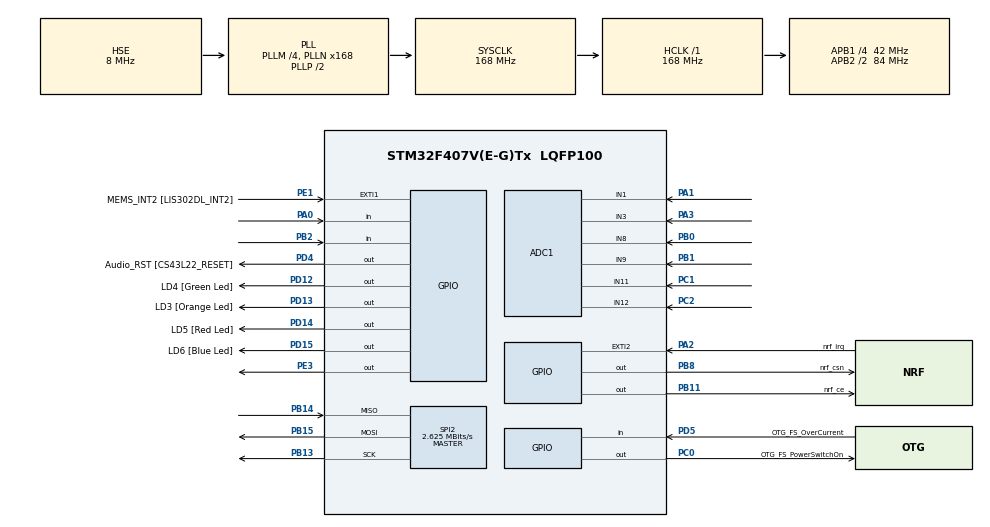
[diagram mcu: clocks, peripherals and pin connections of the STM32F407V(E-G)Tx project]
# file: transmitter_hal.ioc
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ADC1.Channel-0\#ChannelRegularConversion=ADC_CHANNEL_1
ADC1.ContinuousConvMode=DISABLE
ADC1.NbrOfConversion=1
ADC1.NbrOfConversionFlag=1
ADC1.Rank-0\#ChannelRegularConversion=1
ADC1.SamplingTime-0\#ChannelRegularConversion=ADC_SAMPLETIME_28CYCLES
ADC1.ScanConvMode=DISABLE
ADC1.master=1
Mcu.Family=STM32F4
Mcu.Name=STM32F407V(E-G)Tx
Mcu.Package=LQFP100
NVIC.EXTI2_IRQn=true\:0\:0\:false\:false\:true\:true\:true\:true
NVIC.PriorityGroup=NVIC_PRIORITYGROUP_0
NVIC.TIM6_DAC_IRQn=true\:0\:0\:false\:false\:true\:true\:true\:true
PA0-WKUP.Signal=GPIO_Input
PA1.Signal=ADCx_IN1
PA10.GPIO_Label=OTG_FS_ID
PA10.GPIO_Mode=GPIO_MODE_AF_PP
PA10.GPIO_PuPd=GPIO_NOPULL
PA10.GPIO_Speed=GPIO_SPEED_FREQ_LOW
PA10.Signal=USB_OTG_FS_ID
PA11.GPIO_Label=OTG_FS_DM
PA11.GPIO_Mode=GPIO_MODE_AF_PP
PA11.GPIO_PuPd=GPIO_NOPULL
PA11.GPIO_Speed=GPIO_SPEED_FREQ_LOW
PA11.Signal=USB_OTG_FS_DM
PA12.GPIO_Label=OTG_FS_DP
PA12.GPIO_Mode=GPIO_MODE_AF_PP
PA12.GPIO_PuPd=GPIO_NOPULL
PA12.GPIO_Speed=GPIO_SPEED_FREQ_LOW
PA12.Signal=USB_OTG_FS_DP
PA13.GPIO_Label=SWDIO
PA13.Signal=SYS_JTMS-SWDIO
PA14.GPIO_Label=SWCLK
PA14.Signal=SYS_JTCK-SWCLK
PA2.GPIO_Label=nrf_irq
PA2.GPIO_ModeDefaultEXTI=GPIO_MODE_IT_FALLING
PA2.Signal=GPXTI2
PA3.Signal=ADCx_IN3
PA4.GPIO_Label=I2S3_WS [CS43L22_LRCK]
PA4.GPIO_Mode=GPIO_MODE_AF_PP
PA4.GPIO_PuPd=GPIO_NOPULL
PA4.GPIO_Speed=GPIO_SPEED_FREQ_LOW
PA4.Signal=I2S3_WS
PA5.GPIO_Label=SPI1_SCK [LIS302DL_SCL/SPC]
PA5.GPIO_Mode=GPIO_MODE_AF_PP
PA5.GPIO_PuPd=GPIO_NOPULL
PA5.GPIO_Speed=GPIO_SPEED_FREQ_LOW
PA5.Signal=SPI1_SCK
PA6.GPIO_Label=SPI1_MISO [LIS302DL_SDO]
PA6.GPIO_Mode=GPIO_MODE_AF_PP
PA6.GPIO_PuPd=GPIO_NOPULL
PA6.GPIO_Speed=GPIO_SPEED_FREQ_LOW
PA6.Signal=SPI1_MISO
PA7.GPIO_Label=SPI1_MOSI [LIS302DL_SDA/SDI/SDO]
PA7.GPIO_Mode=GPIO_MODE_AF_PP
PA7.GPIO_PuPd=GPIO_NOPULL
PA7.GPIO_Speed=GPIO_SPEED_FREQ_LOW
PA7.Signal=SPI1_MOSI
PA9.GPIO_Label=VBUS_FS
PA9.GPIO_Mode=GPIO_MODE_INPUT
PA9.GPIO_PuPd=GPIO_NOPULL
PA9.Signal=USB_OTG_FS_VBUS
PB0.Signal=ADCx_IN8
PB1.Signal=ADCx_IN9
PB10.GPIO_Label=CLK_IN [MP45DT02_CLK]
PB10.GPIO_Mode=GPIO_MODE_AF_PP
PB10.GPIO_PuPd=GPIO_NOPULL
PB10.GPIO_Speed=GPIO_SPEED_FREQ_LOW
PB10.Signal=I2S2_CK
PB11.GPIO_Label=nrf_ce
PB11.GPIO_Speed=GPIO_SPEED_FREQ_VERY_HIGH
PB11.Signal=GPIO_Output
PB13.Mode=Full_Duplex_Master
PB13.Signal=SPI2_SCK
PB14.Mode=Full_Duplex_Master
PB14.Signal=SPI2_MISO
PB15.Mode=Full_Duplex_Master
PB15.Signal=SPI2_MOSI
PB2.Signal=GPIO_Input
PB3.GPIO_Label=SWO
PB3.Signal=SYS_JTDO-SWO
PB6.GPIO_Label=Audio_SCL [CS43L22_SCL]
PB6.GPIO_Mode=GPIO_MODE_AF_OD
PB6.GPIO_PuPd=GPIO_NOPULL
PB6.GPIO_Speed=GPIO_SPEED_FREQ_LOW
PB6.Signal=I2C1_SCL
PB8.GPIO_Label=nrf_csn
PB8.Signal=GPIO_Output
PB9.GPIO_Label=Audio_SDA [CS43L22_SDA]
PB9.GPIO_Mode=GPIO_MODE_AF_OD
PB9.GPIO_PuPd=GPIO_NOPULL
PB9.GPIO_Speed=GPIO_SPEED_FREQ_LOW
PB9.Signal=I2C1_SDA
PC0.GPIO_Label=OTG_FS_PowerSwitchOn
PC0.GPIO_PuPd=GPIO_NOPULL
PC0.GPIO_Speed=GPIO_SPEED_FREQ_LOW
PC0.PinState=GPIO_PIN_SET
PC0.Signal=GPIO_Output
PC1.Signal=ADCx_IN11
PC10.GPIO_Label=I2S3_SCK [CS43L22_SCLK]
PC10.GPIO_Mode=GPIO_MODE_AF_PP
PC10.GPIO_PuPd=GPIO_NOPULL
PC10.GPIO_Speed=GPIO_SPEED_FREQ_LOW
PC10.Signal=I2S3_CK
PC12.GPIO_Label=I2S3_SD [CS43L22_SDIN]
PC12.GPIO_Mode=GPIO_MODE_AF_PP
PC12.GPIO_PuPd=GPIO_NOPULL
PC12.GPIO_Speed=GPIO_SPEED_FREQ_LOW
PC12.Signal=I2S3_SD
PC14-OSC32_IN.GPIO_Label=PC14-OSC32_IN
PC14-OSC32_IN.Signal=RCC_OSC32_IN
PC15-OSC32_OUT.GPIO_Label=PC15-OSC32_OUT
PC15-OSC32_OUT.Signal=RCC_OSC32_OUT
PC2.Signal=ADCx_IN12
PC3.GPIO_Label=PDM_OUT [MP45DT02_DOUT]
PC3.GPIO_Mode=GPIO_MODE_AF_PP
PC3.GPIO_PuPd=GPIO_NOPULL
PC3.GPIO_Speed=GPIO_SPEED_FREQ_LOW
PC3.Signal=I2S2_SD
PC7.GPIO_Label=I2S3_MCK [CS43L22_MCLK]
PC7.GPIO_Mode=GPIO_MODE_AF_PP
PC7.GPIO_PuPd=GPIO_NOPULL
PC7.GPIO_Speed=GPIO_SPEED_FREQ_LOW
PC7.Signal=I2S3_MCK
PD12.GPIO_Label=LD4 [Green Led]
PD12.GPIO_PuPd=GPIO_NOPULL
PD12.GPIO_Speed=GPIO_SPEED_FREQ_LOW
PD12.Signal=GPIO_Output
PD13.GPIO_Label=LD3 [Orange Led]
PD13.GPIO_PuPd=GPIO_NOPULL
PD13.GPIO_Speed=GPIO_SPEED_FREQ_LOW
PD13.Signal=GPIO_Output
PD14.GPIO_Label=LD5 [Red Led]
PD14.GPIO_PuPd=GPIO_NOPULL
PD14.GPIO_Speed=GPIO_SPEED_FREQ_LOW
PD14.Signal=GPIO_Output
PD15.GPIO_Label=LD6 [Blue Led]
PD15.GPIO_PuPd=GPIO_NOPULL
PD15.GPIO_Speed=GPIO_SPEED_FREQ_LOW
PD15.Signal=GPIO_Output
PD4.GPIO_Label=Audio_RST [CS43L22_RESET]
PD4.GPIO_PuPd=GPIO_NOPULL
PD4.GPIO_Speed=GPIO_SPEED_FREQ_LOW
PD4.Signal=GPIO_Output
PD5.GPIO_Label=OTG_FS_OverCurrent
PD5.GPIO_Mode=GPIO_MODE_INPUT
PD5.GPIO_PuPd=GPIO_NOPULL
PD5.Signal=GPIO_Input
PE1.GPIO_Label=MEMS_INT2 [LIS302DL_INT2]
PE1.GPIO_ModeDefaultEXTI=GPIO_MODE_EVT_RISING
PE1.GPIO_PuPd=GPIO_NOPULL
PE1.Signal=GPXTI1
PE3.Signal=GPIO_Output
PH0-OSC_IN.GPIO_Label=PH0-OSC_IN
PH0-OSC_IN.Mode=HSE-External-Oscillator
PH0-OSC_IN.Signal=RCC_OSC_IN
PH1-OSC_OUT.GPIO_Label=PH1-OSC_OUT
PH1-OSC_OUT.Mode=HSE-External-Oscillator
PH1-OSC_OUT.Signal=RCC_OSC_OUT
ProjectManager.HeapSize=0x200
ProjectManager.StackSize=0x400
ProjectManager.TargetToolchain=STM32CubeIDE
RCC.48MHZClocksFreq_Value=48000000
RCC.AHBFreq_Value=168000000
RCC.APB1CLKDivider=RCC_HCLK_DIV4
RCC.APB1Freq_Value=42000000
RCC.APB1TimFreq_Value=84000000
RCC.APB2CLKDivider=RCC_HCLK_DIV2
RCC.APB2Freq_Value=84000000
RCC.APB2TimFreq_Value=168000000
RCC.CortexFreq_Value=168000000
RCC.HCLKFreq_Value=168000000
RCC.HSE_VALUE=8000000
RCC.HSI_VALUE=16000000
RCC.LSE_VALUE=32768
RCC.PLLM=4
RCC.PLLN=168
RCC.PLLQ=7
RCC.PLLSourceVirtual=RCC_PLLSOURCE_HSE
RCC.SYSCLKFreq_VALUE=168000000
RCC.SYSCLKSource=RCC_SYSCLKSOURCE_PLLCLK
RCC.VCOOutputFreq_Value=336000000
SH.ADCx_IN1.0=ADC1_IN1,IN1
SH.ADCx_IN11.0=ADC1_IN11,IN11
SH.ADCx_IN12.0=ADC1_IN12,IN12
SH.ADCx_IN3.0=ADC1_IN3,IN3
SH.ADCx_IN8.0=ADC1_IN8,IN8
SH.ADCx_IN9.0=ADC1_IN9,IN9
SPI2.BaudRatePrescaler=SPI_BAUDRATEPRESCALER_16
SPI2.CalculateBaudRate=2.625 MBits/s
SPI2.Direction=SPI_DIRECTION_2LINES
SPI2.Mode=SPI_MODE_MASTER
SPI2.VirtualType=VM_MASTER
TIM6.AutoReloadPreload=TIM_AUTORELOAD_PRELOAD_ENABLE
TIM6.Period=4200
TIM6.Prescaler=10
VP_TIM6_VS_ClockSourceINT.Mode=Enable_Timer
board=STM32F407G-DISC1

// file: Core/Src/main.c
/* USER CODE BEGIN Header */
/**
  ******************************************************************************
  * @file           : main.c
  * @brief          : Main program body
  ******************************************************************************
  * @attention
  *
  * Copyright (c) 2024 STMicroelectronics.
  * All rights reserved.
  *
  * This software is licensed under terms that can be found in the LICENSE file
  * in the root directory of this software component.
  * If no LICENSE file comes with this software, it is provided AS-IS.
  *
  ******************************************************************************
  */
/* USER CODE END Header */
#include "main.h"

/* USER CODE BEGIN Includes */
#include "nrf24l01.h"
#include <stdio.h>
/* USER CODE END Includes */

ADC_HandleTypeDef hadc1;

SPI_HandleTypeDef hspi2;

TIM_HandleTypeDef htim6;

void SystemClock_Config(void);
static void MX_GPIO_Init(void);
static void MX_SPI2_Init(void);
static void MX_ADC1_Init(void);
static void MX_TIM6_Init(void);
/* USER CODE BEGIN PFP */

ADC_ChannelConfTypeDef sConfig = {0};

uint32_t throtle = 0 ;
uint32_t yaw = 0 ;
uint32_t roll = 0 ;
uint32_t pitch = 0 ;

uint16_t TxBuffer[(NRF24L01_PAYLOAD_LENGTH / 2)] = {0};

void HAL_GPIO_EXTI_Callback(uint16_t GPIO_Pin)
{
	if(GPIO_Pin == NRF24L01_IRQ_GPIO_PIN)
	{
		NRF24L01_TxIRQHandle(2000);
	}
}

int __io_putchar(int ch){
	return ITM_SendChar(ch) ;
}

uint8_t tim6_delay = 0;

/* USER CODE END PFP */

int main(void)
{

  /* MCU Configuration--------------------------------------------------------*/

  /* Reset of all peripherals, Initializes the Flash interface and the Systick. */
  HAL_Init();

  /* Configure the system clock */
  SystemClock_Config();

  /* Initialize all configured peripherals */
  MX_GPIO_Init();
  MX_SPI2_Init();
  MX_ADC1_Init();
  MX_TIM6_Init();
  /* USER CODE BEGIN 2 */

	uint8_t TxAddress1[5] = {0xB3, 0xB4, 0xB5, 0xB6, 0xCD};

	NRF24L01_TxInit(100, NRF24L01_DATA_RATE_1MBPS, 2000);

	NRF24L01_SetTxAddress(TxAddress1, 2000);

	HAL_TIM_Base_Start_IT(&htim6) ;

  /* USER CODE END 2 */

  /* Infinite loop */
  /* USER CODE BEGIN WHILE */
  while (1)
  {

	sConfig.Channel = ADC_CHANNEL_1;
	sConfig.Rank = 1;
	sConfig.SamplingTime = ADC_SAMPLETIME_480CYCLES;
	if (HAL_ADC_ConfigChannel(&hadc1, &sConfig) != HAL_OK)
	{
	Error_Handler();
	}
	HAL_ADC_Start(&hadc1) ;
	HAL_ADC_PollForConversion(&hadc1, 10);
	roll = HAL_ADC_GetValue(&hadc1) ;
	HAL_ADC_Stop(&hadc1) ;

	sConfig.Channel = ADC_CHANNEL_3;
	sConfig.Rank = 1;
	sConfig.SamplingTime = ADC_SAMPLETIME_480CYCLES;
	if (HAL_ADC_ConfigChannel(&hadc1, &sConfig) != HAL_OK)
	{
	Error_Handler();
	}
	HAL_ADC_Start(&hadc1) ;
	HAL_ADC_PollForConversion(&hadc1, 10);
	throtle = HAL_ADC_GetValue(&hadc1);
	HAL_ADC_Stop(&hadc1) ;

	sConfig.Channel = ADC_CHANNEL_8;
	sConfig.Rank = 1;
	sConfig.SamplingTime = ADC_SAMPLETIME_480CYCLES;
	if (HAL_ADC_ConfigChannel(&hadc1, &sConfig) != HAL_OK)
	{
	Error_Handler();
	}
	HAL_ADC_Start(&hadc1) ;
	HAL_ADC_PollForConversion(&hadc1, 10);
	yaw = HAL_ADC_GetValue(&hadc1) ;
	HAL_ADC_Stop(&hadc1) ;

	sConfig.Channel = ADC_CHANNEL_9;
	sConfig.Rank = 1;
	sConfig.SamplingTime = ADC_SAMPLETIME_480CYCLES;
	if (HAL_ADC_ConfigChannel(&hadc1, &sConfig) != HAL_OK)
	{
	Error_Handler();
	}
	HAL_ADC_Start(&hadc1) ;
	HAL_ADC_PollForConversion(&hadc1, 10);
	pitch = HAL_ADC_GetValue(&hadc1) ;
	HAL_ADC_Stop(&hadc1) ;

		TxBuffer[0] = throtle ;
		TxBuffer[1] = roll;
		TxBuffer[2] = yaw ;
		TxBuffer[3] = pitch ;

	if (HAL_GPIO_ReadPin(GPIOA, GPIO_PIN_0) == 1 ){

		TxBuffer[3] = 8000 ;

	}
//
//
//	printf(" throttle : %d, roll : %d, pitch : %d,yaw: %d  \n " , throtle , roll, pitch ,  yaw ) ;

	NRF24L01_TxTransmit(TxBuffer, 2000);

	while(tim6_delay == 0){}
	tim6_delay = 0 ;

    /* USER CODE END WHILE */

  }
}

void SystemClock_Config(void)
{
  RCC_OscInitTypeDef RCC_OscInitStruct = {0};
  RCC_ClkInitTypeDef RCC_ClkInitStruct = {0};

  /** Configure the main internal regulator output voltage
  */
  __HAL_RCC_PWR_CLK_ENABLE();
  __HAL_PWR_VOLTAGESCALING_CONFIG(PWR_REGULATOR_VOLTAGE_SCALE1);

  /** Initializes the RCC Oscillators according to the specified parameters
  * in the RCC_OscInitTypeDef structure.
  */
  RCC_OscInitStruct.OscillatorType = RCC_OSCILLATORTYPE_HSE;
  RCC_OscInitStruct.HSEState = RCC_HSE_ON;
  RCC_OscInitStruct.PLL.PLLState = RCC_PLL_ON;
  RCC_OscInitStruct.PLL.PLLSource = RCC_PLLSOURCE_HSE;
  RCC_OscInitStruct.PLL.PLLM = 4;
  RCC_OscInitStruct.PLL.PLLN = 168;
  RCC_OscInitStruct.PLL.PLLP = RCC_PLLP_DIV2;
  RCC_OscInitStruct.PLL.PLLQ = 7;
  if (HAL_RCC_OscConfig(&RCC_OscInitStruct) != HAL_OK)
  {
    Error_Handler();
  }

  /** Initializes the CPU, AHB and APB buses clocks
  */
  RCC_ClkInitStruct.ClockType = RCC_CLOCKTYPE_HCLK|RCC_CLOCKTYPE_SYSCLK
                              |RCC_CLOCKTYPE_PCLK1|RCC_CLOCKTYPE_PCLK2;
  RCC_ClkInitStruct.SYSCLKSource = RCC_SYSCLKSOURCE_PLLCLK;
  RCC_ClkInitStruct.AHBCLKDivider = RCC_SYSCLK_DIV1;
  RCC_ClkInitStruct.APB1CLKDivider = RCC_HCLK_DIV4;
  RCC_ClkInitStruct.APB2CLKDivider = RCC_HCLK_DIV2;

  if (HAL_RCC_ClockConfig(&RCC_ClkInitStruct, FLASH_LATENCY_5) != HAL_OK)
  {
    Error_Handler();
  }
}

static void MX_ADC1_Init(void)
{

  ADC_ChannelConfTypeDef sConfig = {0};

  /** Configure the global features of the ADC (Clock, Resolution, Data Alignment and number of conversion)
  */
  hadc1.Instance = ADC1;
  hadc1.Init.ClockPrescaler = ADC_CLOCK_SYNC_PCLK_DIV4;
  hadc1.Init.Resolution = ADC_RESOLUTION_12B;
  hadc1.Init.ScanConvMode = DISABLE;
  hadc1.Init.ContinuousConvMode = DISABLE;
  hadc1.Init.DiscontinuousConvMode = DISABLE;
  hadc1.Init.ExternalTrigConvEdge = ADC_EXTERNALTRIGCONVEDGE_NONE;
  hadc1.Init.ExternalTrigConv = ADC_SOFTWARE_START;
  hadc1.Init.DataAlign = ADC_DATAALIGN_RIGHT;
  hadc1.Init.NbrOfConversion = 1;
  hadc1.Init.DMAContinuousRequests = DISABLE;
  hadc1.Init.EOCSelection = ADC_EOC_SINGLE_CONV;
  if (HAL_ADC_Init(&hadc1) != HAL_OK)
  {
    Error_Handler();
  }

  /** Configure for the selected ADC regular channel its corresponding rank in the sequencer and its sample time.
  */
  sConfig.Channel = ADC_CHANNEL_1;
  sConfig.Rank = 1;
  sConfig.SamplingTime = ADC_SAMPLETIME_28CYCLES;
  if (HAL_ADC_ConfigChannel(&hadc1, &sConfig) != HAL_OK)
  {
    Error_Handler();
  }

}

static void MX_SPI2_Init(void)
{

  /* SPI2 parameter configuration*/
  hspi2.Instance = SPI2;
  hspi2.Init.Mode = SPI_MODE_MASTER;
  hspi2.Init.Direction = SPI_DIRECTION_2LINES;
  hspi2.Init.DataSize = SPI_DATASIZE_8BIT;
  hspi2.Init.CLKPolarity = SPI_POLARITY_LOW;
  hspi2.Init.CLKPhase = SPI_PHASE_1EDGE;
  hspi2.Init.NSS = SPI_NSS_SOFT;
  hspi2.Init.BaudRatePrescaler = SPI_BAUDRATEPRESCALER_16;
  hspi2.Init.FirstBit = SPI_FIRSTBIT_MSB;
  hspi2.Init.TIMode = SPI_TIMODE_DISABLE;
  hspi2.Init.CRCCalculation = SPI_CRCCALCULATION_DISABLE;
  hspi2.Init.CRCPolynomial = 10;
  if (HAL_SPI_Init(&hspi2) != HAL_OK)
  {
    Error_Handler();
  }

}

static void MX_TIM6_Init(void)
{

  TIM_MasterConfigTypeDef sMasterConfig = {0};

  htim6.Instance = TIM6;
  htim6.Init.Prescaler = 10;
  htim6.Init.CounterMode = TIM_COUNTERMODE_UP;
  htim6.Init.Period = 4200;
  htim6.Init.AutoReloadPreload = TIM_AUTORELOAD_PRELOAD_ENABLE;
  if (HAL_TIM_Base_Init(&htim6) != HAL_OK)
  {
    Error_Handler();
  }
  sMasterConfig.MasterOutputTrigger = TIM_TRGO_RESET;
  sMasterConfig.MasterSlaveMode = TIM_MASTERSLAVEMODE_DISABLE;
  if (HAL_TIMEx_MasterConfigSynchronization(&htim6, &sMasterConfig) != HAL_OK)
  {
    Error_Handler();
  }

}

static void MX_GPIO_Init(void)
{
  GPIO_InitTypeDef GPIO_InitStruct = {0};

  /* GPIO Ports Clock Enable */
  __HAL_RCC_GPIOE_CLK_ENABLE();
  __HAL_RCC_GPIOC_CLK_ENABLE();
  __HAL_RCC_GPIOH_CLK_ENABLE();
  __HAL_RCC_GPIOA_CLK_ENABLE();
  __HAL_RCC_GPIOB_CLK_ENABLE();
  __HAL_RCC_GPIOD_CLK_ENABLE();

  /*Configure GPIO pin Output Level */
  HAL_GPIO_WritePin(GPIOE, GPIO_PIN_3, GPIO_PIN_RESET);

  /*Configure GPIO pin Output Level */
  HAL_GPIO_WritePin(OTG_FS_PowerSwitchOn_GPIO_Port, OTG_FS_PowerSwitchOn_Pin, GPIO_PIN_SET);

  /*Configure GPIO pin Output Level */
  HAL_GPIO_WritePin(GPIOB, nrf_ce_Pin|nrf_csn_Pin, GPIO_PIN_RESET);

  /*Configure GPIO pin Output Level */
  HAL_GPIO_WritePin(GPIOD, LD4_Pin|LD3_Pin|LD5_Pin|LD6_Pin
                          |Audio_RST_Pin, GPIO_PIN_RESET);

  /*Configure GPIO pin : PE3 */
  GPIO_InitStruct.Pin = GPIO_PIN_3;
  GPIO_InitStruct.Mode = GPIO_MODE_OUTPUT_PP;
  GPIO_InitStruct.Pull = GPIO_NOPULL;
  GPIO_InitStruct.Speed = GPIO_SPEED_FREQ_LOW;
  HAL_GPIO_Init(GPIOE, &GPIO_InitStruct);

  /*Configure GPIO pin : OTG_FS_PowerSwitchOn_Pin */
  GPIO_InitStruct.Pin = OTG_FS_PowerSwitchOn_Pin;
  GPIO_InitStruct.Mode = GPIO_MODE_OUTPUT_PP;
  GPIO_InitStruct.Pull = GPIO_NOPULL;
  GPIO_InitStruct.Speed = GPIO_SPEED_FREQ_LOW;
  HAL_GPIO_Init(OTG_FS_PowerSwitchOn_GPIO_Port, &GPIO_InitStruct);

  /*Configure GPIO pin : PDM_OUT_Pin */
  GPIO_InitStruct.Pin = PDM_OUT_Pin;
  GPIO_InitStruct.Mode = GPIO_MODE_AF_PP;
  GPIO_InitStruct.Pull = GPIO_NOPULL;
  GPIO_InitStruct.Speed = GPIO_SPEED_FREQ_LOW;
  GPIO_InitStruct.Alternate = GPIO_AF5_SPI2;
  HAL_GPIO_Init(PDM_OUT_GPIO_Port, &GPIO_InitStruct);

  /*Configure GPIO pin : PA0 */
  GPIO_InitStruct.Pin = GPIO_PIN_0;
  GPIO_InitStruct.Mode = GPIO_MODE_INPUT;
  GPIO_InitStruct.Pull = GPIO_NOPULL;
  HAL_GPIO_Init(GPIOA, &GPIO_InitStruct);

  /*Configure GPIO pin : nrf_irq_Pin */
  GPIO_InitStruct.Pin = nrf_irq_Pin;
  GPIO_InitStruct.Mode = GPIO_MODE_IT_FALLING;
  GPIO_InitStruct.Pull = GPIO_NOPULL;
  HAL_GPIO_Init(nrf_irq_GPIO_Port, &GPIO_InitStruct);

  /*Configure GPIO pin : I2S3_WS_Pin */
  GPIO_InitStruct.Pin = I2S3_WS_Pin;
  GPIO_InitStruct.Mode = GPIO_MODE_AF_PP;
  GPIO_InitStruct.Pull = GPIO_NOPULL;
  GPIO_InitStruct.Speed = GPIO_SPEED_FREQ_LOW;
  GPIO_InitStruct.Alternate = GPIO_AF6_SPI3;
  HAL_GPIO_Init(I2S3_WS_GPIO_Port, &GPIO_InitStruct);

  /*Configure GPIO pins : SPI1_SCK_Pin SPI1_MISO_Pin SPI1_MOSI_Pin */
  GPIO_InitStruct.Pin = SPI1_SCK_Pin|SPI1_MISO_Pin|SPI1_MOSI_Pin;
  GPIO_InitStruct.Mode = GPIO_MODE_AF_PP;
  GPIO_InitStruct.Pull = GPIO_NOPULL;
  GPIO_InitStruct.Speed = GPIO_SPEED_FREQ_LOW;
  GPIO_InitStruct.Alternate = GPIO_AF5_SPI1;
  HAL_GPIO_Init(GPIOA, &GPIO_InitStruct);

  /*Configure GPIO pin : PB2 */
  GPIO_InitStruct.Pin = GPIO_PIN_2;
  GPIO_InitStruct.Mode = GPIO_MODE_INPUT;
  GPIO_InitStruct.Pull = GPIO_NOPULL;
  HAL_GPIO_Init(GPIOB, &GPIO_InitStruct);

  /*Configure GPIO pin : CLK_IN_Pin */
  GPIO_InitStruct.Pin = CLK_IN_Pin;
  GPIO_InitStruct.Mode = GPIO_MODE_AF_PP;
  GPIO_InitStruct.Pull = GPIO_NOPULL;
  GPIO_InitStruct.Speed = GPIO_SPEED_FREQ_LOW;
  GPIO_InitStruct.Alternate = GPIO_AF5_SPI2;
  HAL_GPIO_Init(CLK_IN_GPIO_Port, &GPIO_InitStruct);

  /*Configure GPIO pin : nrf_ce_Pin */
  GPIO_InitStruct.Pin = nrf_ce_Pin;
  GPIO_InitStruct.Mode = GPIO_MODE_OUTPUT_PP;
  GPIO_InitStruct.Pull = GPIO_NOPULL;
  GPIO_InitStruct.Speed = GPIO_SPEED_FREQ_VERY_HIGH;
  HAL_GPIO_Init(nrf_ce_GPIO_Port, &GPIO_InitStruct);

  /*Configure GPIO pins : LD4_Pin LD3_Pin LD5_Pin LD6_Pin
                           Audio_RST_Pin */
  GPIO_InitStruct.Pin = LD4_Pin|LD3_Pin|LD5_Pin|LD6_Pin
                          |Audio_RST_Pin;
  GPIO_InitStruct.Mode = GPIO_MODE_OUTPUT_PP;
  GPIO_InitStruct.Pull = GPIO_NOPULL;
  GPIO_InitStruct.Speed = GPIO_SPEED_FREQ_LOW;
  HAL_GPIO_Init(GPIOD, &GPIO_InitStruct);

  /*Configure GPIO pins : I2S3_MCK_Pin I2S3_SCK_Pin I2S3_SD_Pin */
  GPIO_InitStruct.Pin = I2S3_MCK_Pin|I2S3_SCK_Pin|I2S3_SD_Pin;
  GPIO_InitStruct.Mode = GPIO_MODE_AF_PP;
  GPIO_InitStruct.Pull = GPIO_NOPULL;
  GPIO_InitStruct.Speed = GPIO_SPEED_FREQ_LOW;
  GPIO_InitStruct.Alternate = GPIO_AF6_SPI3;
  HAL_GPIO_Init(GPIOC, &GPIO_InitStruct);

  /*Configure GPIO pin : VBUS_FS_Pin */
  GPIO_InitStruct.Pin = VBUS_FS_Pin;
  GPIO_InitStruct.Mode = GPIO_MODE_INPUT;
  GPIO_InitStruct.Pull = GPIO_NOPULL;
  HAL_GPIO_Init(VBUS_FS_GPIO_Port, &GPIO_InitStruct);

  /*Configure GPIO pins : OTG_FS_ID_Pin OTG_FS_DM_Pin OTG_FS_DP_Pin */
  GPIO_InitStruct.Pin = OTG_FS_ID_Pin|OTG_FS_DM_Pin|OTG_FS_DP_Pin;
  GPIO_InitStruct.Mode = GPIO_MODE_AF_PP;
  GPIO_InitStruct.Pull = GPIO_NOPULL;
  GPIO_InitStruct.Speed = GPIO_SPEED_FREQ_LOW;
  GPIO_InitStruct.Alternate = GPIO_AF10_OTG_FS;
  HAL_GPIO_Init(GPIOA, &GPIO_InitStruct);

  /*Configure GPIO pin : OTG_FS_OverCurrent_Pin */
  GPIO_InitStruct.Pin = OTG_FS_OverCurrent_Pin;
  GPIO_InitStruct.Mode = GPIO_MODE_INPUT;
  GPIO_InitStruct.Pull = GPIO_NOPULL;
  HAL_GPIO_Init(OTG_FS_OverCurrent_GPIO_Port, &GPIO_InitStruct);

  /*Configure GPIO pins : Audio_SCL_Pin Audio_SDA_Pin */
  GPIO_InitStruct.Pin = Audio_SCL_Pin|Audio_SDA_Pin;
  GPIO_InitStruct.Mode = GPIO_MODE_AF_OD;
  GPIO_InitStruct.Pull = GPIO_NOPULL;
  GPIO_InitStruct.Speed = GPIO_SPEED_FREQ_LOW;
  GPIO_InitStruct.Alternate = GPIO_AF4_I2C1;
  HAL_GPIO_Init(GPIOB, &GPIO_InitStruct);

  /*Configure GPIO pin : nrf_csn_Pin */
  GPIO_InitStruct.Pin = nrf_csn_Pin;
  GPIO_InitStruct.Mode = GPIO_MODE_OUTPUT_PP;
  GPIO_InitStruct.Pull = GPIO_NOPULL;
  GPIO_InitStruct.Speed = GPIO_SPEED_FREQ_LOW;
  HAL_GPIO_Init(nrf_csn_GPIO_Port, &GPIO_InitStruct);

  /*Configure GPIO pin : MEMS_INT2_Pin */
  GPIO_InitStruct.Pin = MEMS_INT2_Pin;
  GPIO_InitStruct.Mode = GPIO_MODE_EVT_RISING;
  GPIO_InitStruct.Pull = GPIO_NOPULL;
  HAL_GPIO_Init(MEMS_INT2_GPIO_Port, &GPIO_InitStruct);

  /* EXTI interrupt init*/
  HAL_NVIC_SetPriority(EXTI2_IRQn, 0, 0);
  HAL_NVIC_EnableIRQ(EXTI2_IRQn);

}

void Error_Handler(void)
{
  __disable_irq();
  while (1)
  {
  }
}
